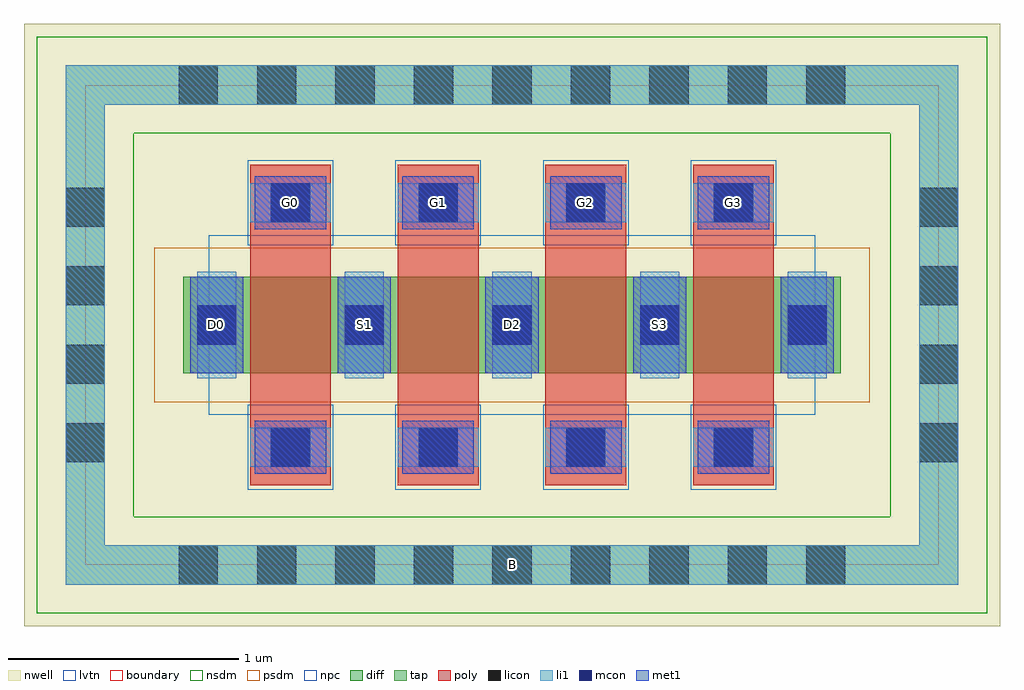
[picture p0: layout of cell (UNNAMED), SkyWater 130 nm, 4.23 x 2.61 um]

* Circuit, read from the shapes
.subckt (UNNAMED) B D0 D2 G0 G1 G2 G3 S1 S3
XM1 S1 G0 D0 B sky130_fd_pr__pfet_01v8_lvt w=0.42 l=0.35
XM2 D2 G1 S1 B sky130_fd_pr__pfet_01v8_lvt w=0.42 l=0.35
XM3 S3 G2 D2 B sky130_fd_pr__pfet_01v8_lvt w=0.42 l=0.35
XM4 n1 G3 S3 B sky130_fd_pr__pfet_01v8_lvt w=0.42 l=0.35
.ends

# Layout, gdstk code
import gdstk
lib = gdstk.Library(unit=1e-6, precision=1e-09)
def R(c, l, rs):  # rectangles x0, y0, x1, y1
    for r in rs: c.add(gdstk.rectangle(r[:2], r[2:], *l))
def A(c, l, x, y, w, h, nx, ny, dx, dy):  # array of equal rectangles
    R(c, l, [(x+i*dx, y+j*dy, x+i*dx+w, y+j*dy+h) for i in range(nx) for j in range(ny)])
nwell = (64, 20)
diff = (65, 20)
tap = (65, 44)
poly = (66, 20)
licon = (66, 44)
li1 = (67, 20)
mcon = (67, 44)
met1 = (68, 20)
nsdm = (93, 44)
psdm = (94, 20)
npc = (95, 20)
lvtn = (125, 44)
boundary = (235, 4)

c__unnamed_ = lib.new_cell('(UNNAMED)')
R(c__unnamed_, nwell, [(-2.115,-1.305,2.115,1.305)])
R(c__unnamed_, diff, [(-1.425,-0.21,1.425,0.21)])
R(c__unnamed_, tap, [(-1.935,-1.125,1.935,-0.955), (-1.935,-0.955,-1.765,0.955), (1.765,-0.955,1.935,0.955), (-1.935,0.955,1.935,1.125)])
A(c__unnamed_, poly, -1.135, -0.695, 0.35, 1.39, 4, 1, 0.64, 0)
A(c__unnamed_, licon, -1.445, -1.125, 0.17, 0.17, 9, 2, 0.34, 2.08)
A(c__unnamed_, licon, -1.045, -0.615, 0.17, 0.17, 4, 2, 0.64, 1.06)
A(c__unnamed_, licon, -1.935, -0.595, 0.17, 0.17, 1, 4, 0, 0.34)
A(c__unnamed_, licon, 1.765, -0.595, 0.17, 0.17, 1, 4, 0, 0.34)
A(c__unnamed_, licon, -1.365, -0.085, 0.17, 0.17, 5, 1, 0.64, 0)
A(c__unnamed_, li1, -1.135, -0.615, 0.35, 0.17, 4, 2, 0.64, 1.06)
A(c__unnamed_, li1, -1.365, -0.23, 0.17, 0.46, 5, 1, 0.64, 0)
R(c__unnamed_, li1, [(-1.935,-1.125,1.935,-0.955), (-1.935,-0.955,-1.765,0.955), (1.765,-0.955,1.935,0.955), (-1.935,0.955,1.935,1.125)])
A(c__unnamed_, mcon, -1.045, -0.615, 0.17, 0.17, 4, 2, 0.64, 1.06)
A(c__unnamed_, mcon, -1.365, -0.085, 0.17, 0.17, 5, 1, 0.64, 0)
A(c__unnamed_, met1, -1.115, -0.645, 0.31, 0.23, 4, 2, 0.64, 1.06)
A(c__unnamed_, met1, -1.395, -0.21, 0.23, 0.42, 5, 1, 0.64, 0)
R(c__unnamed_, nsdm, [(-2.06,-1.25,2.06,-0.83), (-2.06,-0.83,-1.64,0.83), (1.64,-0.83,2.06,0.83), (-2.06,0.83,2.06,1.25)])
R(c__unnamed_, psdm, [(-1.55,-0.335,1.55,0.335)])
A(c__unnamed_, npc, -1.145, -0.715, 0.37, 0.37, 4, 2, 0.64, 1.06)
R(c__unnamed_, lvtn, [(-1.315,-0.39,1.315,0.39)])
R(c__unnamed_, boundary, [(-1.85,-1.04,1.85,1.04)])
c__unnamed_.add(gdstk.Label('B', (0,-1.04), layer=67, texttype=5))
c__unnamed_.add(gdstk.Label('D0', (-1.28,0), layer=67, texttype=5))
c__unnamed_.add(gdstk.Label('G0', (-0.96,0.53), layer=67, texttype=5))
c__unnamed_.add(gdstk.Label('S1', (-0.64,0), layer=67, texttype=5))
c__unnamed_.add(gdstk.Label('G1', (-0.32,0.53), layer=67, texttype=5))
c__unnamed_.add(gdstk.Label('D2', (0,0), layer=67, texttype=5))
c__unnamed_.add(gdstk.Label('G2', (0.32,0.53), layer=67, texttype=5))
c__unnamed_.add(gdstk.Label('S3', (0.64,0), layer=67, texttype=5))
c__unnamed_.add(gdstk.Label('G3', (0.96,0.53), layer=67, texttype=5))

lib.write_gds('_UNNAMED_.gds')
